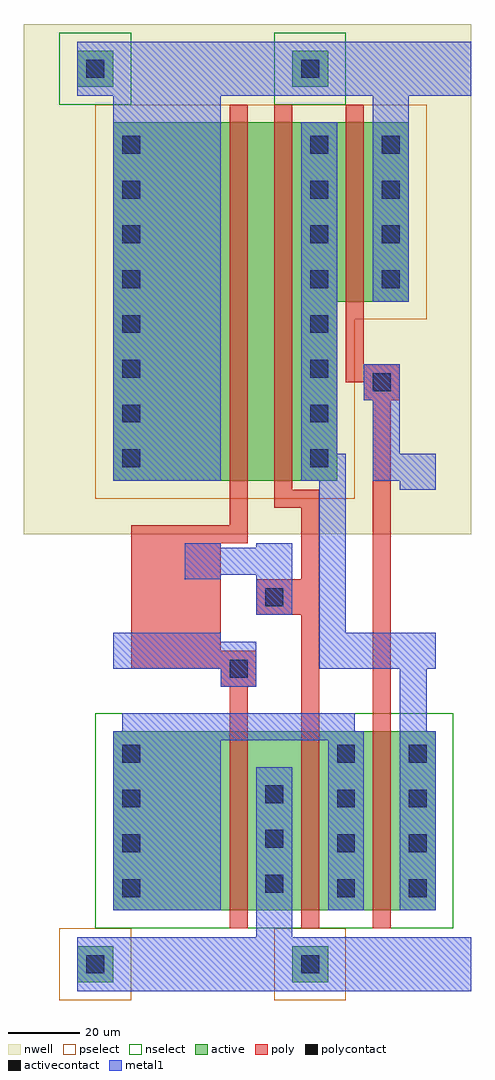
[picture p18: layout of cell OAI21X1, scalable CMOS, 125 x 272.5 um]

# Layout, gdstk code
import gdstk
lib = gdstk.Library(unit=1e-6, precision=1e-09)
def R(c, l, rs):  # rectangles x0, y0, x1, y1
    for r in rs: c.add(gdstk.rectangle(r[:2], r[2:], *l))
def A(c, l, x, y, w, h, nx, ny, dx, dy):  # array of equal rectangles
    R(c, l, [(x+i*dx, y+j*dy, x+i*dx+w, y+j*dy+h) for i in range(nx) for j in range(ny)])
nwell = (42, 0)
active = (43, 0)
pselect = (44, 0)
nselect = (45, 0)
poly = (46, 0)
polycontact = (47, 0)
activecontact = (48, 0)
metal1 = (49, 0)

oai21x1 = lib.new_cell('OAI21X1')
R(oai21x1, nwell, [(-20,120,105,262.5)])
R(oai21x1, active, [(-5,-5,5,5), (55,-5,65,5), (5,15,95,65), (5,135,67.5,185), (5,185,87.5,235), (-5,245,5,255), (55,245,65,255)])
R(oai21x1, pselect, [(-10,-10,10,10), (50,-10,70,10), (0,130,72.5,180), (0,180,92.5,240)])
R(oai21x1, nselect, [(0,10,100,70), (-10,240,10,260), (50,240,70,260)])
R(oai21x1, poly, [(37.5,10,42.5,77.5), (57.5,10,62.5,97.5), (77.5,10,82.5,157.5), (35,77.5,45,82.5), (10,82.5,45,87.5), (10,87.5,35,117.5), (45,97.5,62.5,107.5), (57.5,107.5,62.5,127.5), (10,117.5,42.5,122.5), (37.5,122.5,42.5,240), (50,127.5,62.5,132.5), (50,132.5,55,240), (75,157.5,85,162.5), (70,162.5,85,167.5), (70,167.5,75,240)])
R(oai21x1, polycontact, [(37.5,80,42.5,85), (47.5,100,52.5,105), (77.5,160,82.5,165)])
A(oai21x1, activecontact, 7.5, 18.75, 5, 5, 1, 4, 0, 12.5)
A(oai21x1, activecontact, 67.5, 18.75, 5, 5, 1, 4, 0, 12.5)
A(oai21x1, activecontact, 87.5, 18.75, 5, 5, 1, 4, 0, 12.5)
A(oai21x1, activecontact, 47.5, 20, 5, 5, 1, 3, 0, 12.5)
A(oai21x1, activecontact, 7.5, 138.75, 5, 5, 1, 8, 0, 12.5)
A(oai21x1, activecontact, 60, 138.75, 5, 5, 1, 8, 0, 12.5)
A(oai21x1, activecontact, 80, 188.75, 5, 5, 1, 4, 0, 12.5)
R(oai21x1, activecontact, [(-2.5,-2.5,2.5,2.5), (57.5,-2.5,62.5,2.5), (-2.5,247.5,2.5,252.5), (57.5,247.5,62.5,252.5)])
R(oai21x1, metal1, [(-5,-7.5,105,7.5), (45,7.5,55,55), (5,15,35,62.5), (65,15,75,62.5), (85,15,95,65), (5,62.5,75,65), (7.5,65,72.5,70), (85,65,92.5,82.5), (35,77.5,45,82.5), (5,82.5,45,90), (62.5,82.5,95,92.5), (5,90,35,92.5), (62.5,92.5,70,135), (45,97.5,55,117.5), (25,107.5,35,117.5), (26.25,108.75,53.75,116.25), (85,132.5,95,135), (5,135,35,242.5), (57.5,135,70,142.5), (77.5,135,95,142.5), (57.5,142.5,67.5,235), (77.5,142.5,85,157.5), (75,157.5,85,167.5), (77.5,185,87.5,242.5), (-5,242.5,105,257.5)])

lib.write_gds('OAI21X1.gds')
